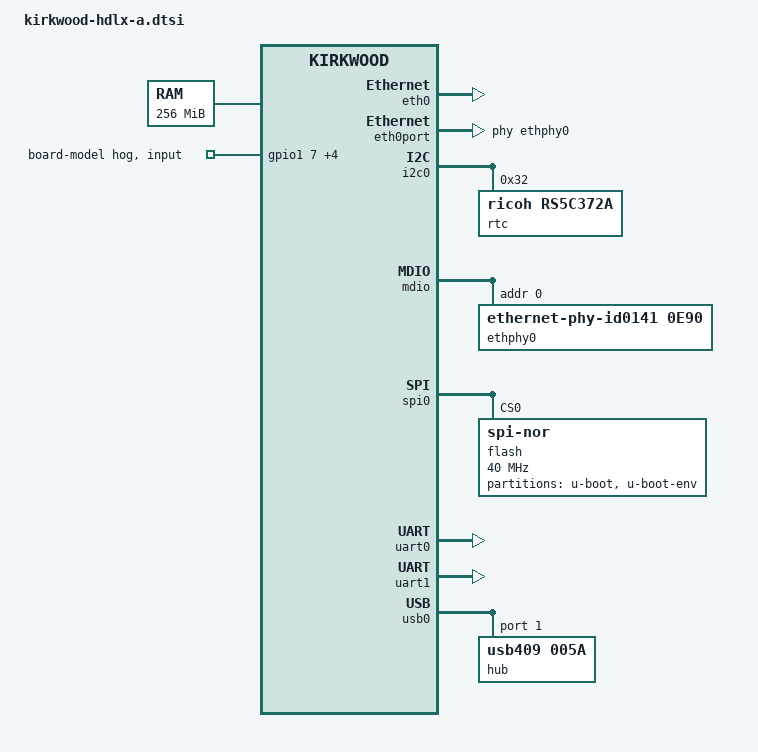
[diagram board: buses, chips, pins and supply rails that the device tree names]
// SPDX-License-Identifier: GPL-2.0-or-later OR MIT

/dts-v1/;

#include "kirkwood.dtsi"
#include "kirkwood-6282.dtsi"

/ {
	aliases {
		serial0 = &uart0;
		serial1 = &uart1;
	};

	chosen {
		stdout-path = "serial0:115200n8";
	};

	memory@0 {
		device_type = "memory";
		reg = <0x00000000 0x10000000>;
	};

	reboot {
		compatible = "iodata,landisk-reboot";
		phy-handle = <&ethphy0>;
	};
};

&eth0 {
	status = "okay";
};

&eth0port {
	phy-handle = <&ethphy0>;
};

&gpio1 {
	/*
	 * these pins are used for board-model detection
	 * on stock firmware of HDL-A/HDL2-A
	 *   0: HDL2-A
	 *   1: HDL-A
	 */
	board-model {
		gpio-hog;
		gpios = <7 GPIO_ACTIVE_HIGH>, <8 GPIO_ACTIVE_HIGH>,
			<9 GPIO_ACTIVE_HIGH>, <10 GPIO_ACTIVE_HIGH>,
			<11 GPIO_ACTIVE_HIGH>;
		input;
		line-name = "board-model";
	};
};

&i2c0 {
	status = "okay";

	rtc@32 {
		compatible = "ricoh,rs5c372a";
		reg = <0x32>;
		/* enable alarm for powering on by Renesas R8C MCU */
		wakeup-source;
	};
};

&mdio {
	status = "okay";

	ethphy0: ethernet-phy@0 {
		compatible = "ethernet-phy-id0141,0e90",
			     "ethernet-phy-ieee802.3-c22";
		reg = <0>;
		/*
		 * LED[0] (Left, Amber): SPEED 1000M
		 * LED[1] (Left, Green): SPEED 100M
		 * LED[2] (Right,Green): LINK/ACT
		 */
		marvell,reg-init = <3 16 0 0x177>;
	};
};

&pinctrl {
	pinctrl-0 = <&pmx_board_model>;
	pinctrl-names = "default";

	pmx_board_model: pmx-board-model {
		marvell,pins = "mpp39", "mpp40", "mpp41", "mpp42",
			       "mpp43";
		marvell,function = "gpio";
	};
};

&rtc {
	status = "disabled";
};

&spi0 {
	status = "okay";

	flash@0 {
		compatible = "jedec,spi-nor";
		spi-max-frequency = <40000000>;
		reg = <0>;

		partitions {
			compatible = "fixed-partitions";
			#address-cells = <1>;
			#size-cells = <1>;

			partition@0 {
				label = "u-boot";
				reg = <0x00000 0x70000>;
				read-only;
			};

			partition@1 {
				label = "u-boot-env";
				reg = <0x70000 0x10000>;
				read-only;
			};
		};
	};
};

&uart0 {
	status = "okay";
};

&uart1 {
	status = "okay";

	/*
	 * UART1 is used to connect to the Renesas R8C/25 MCU
	 * but there is no driver.
	 * This MCU provides the following functions:
	 *
	 * - LED
	 *   - Status
	 *   - HDD (HDL2-A only)
	 * - Keys
	 *   - Reset
	 *   - Power
	 * - Beep Speaker
	 *   - controlled by MML (Music Macro Language) syntax
	 * - Temperature sensor
	 * - Fan Control
	 * - Power Off
	 * - Reset
	 */
};

&usb0 {
	#address-cells = <1>;
	#size-cells = <0>;
	status = "okay";

	hub@1 {
		compatible = "usb409,005a";
		reg = <1>;
		#address-cells = <1>;
		#size-cells = <0>;

		port@1 {
			reg = <1>;
		};

		port@2 {
			reg = <2>;
		};
	};
};
